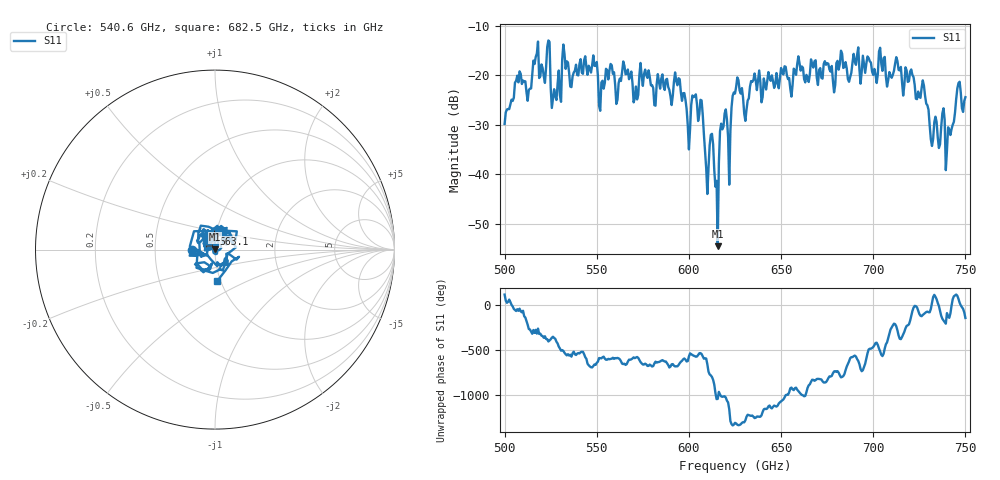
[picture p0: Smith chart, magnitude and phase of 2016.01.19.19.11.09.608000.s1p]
!Created with skrf (http://scikit-rf.org).
# GHz S RI R 50.0
!freq ReS11 ImS11
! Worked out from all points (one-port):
!   401 points, 500 GHz to 750 GHz, reference 50 ohm
!   lowest |S11| = -54.6 dB at 615.6 GHz (marker M1), VSWR 1.00, Z = 50.2 + j0.104 ohm
!   |S11| at or under -10 dB: start of sweep to end of sweep
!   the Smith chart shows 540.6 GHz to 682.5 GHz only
!   S11 on the Smith chart (normalised r, x): 540.6 GHz: 0.77, -0.00; 563.1 GHz: 0.97, +0.17; 682.5 GHz: 0.96, -0.35
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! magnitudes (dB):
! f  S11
! 500 GHz  -29.9
! 507.5 GHz  -21.5
! 513.1 GHz  -23.0
! 516.9 GHz  -16.3
! 523.8 GHz  -13.0
! 526.9 GHz  -22.8
! 531.2 GHz  -16.8
! 540.6 GHz  -17.7
! 562.5 GHz  -20.7
! 563.1 GHz  -21.2
! 593.8 GHz  -22.0
! 599.4 GHz  -30.1
! 606.9 GHz  -25.1
! 609.4 GHz  -38.8
! 612.5 GHz  -31.9
! 615.6 GHz  -54.6
! 618.1 GHz  -31.0
! 621.9 GHz  -42.1
! 625 GHz  -23.7
! 631.2 GHz  -27.0
! 635 GHz  -21.0
! 656.2 GHz  -21.9
! 682.5 GHz  -15.1
! 687.5 GHz  -20.4
! 718.8 GHz  -21.4
! 740.6 GHz  -30.5
! 746.2 GHz  -21.6
! 750 GHz  -24.4
